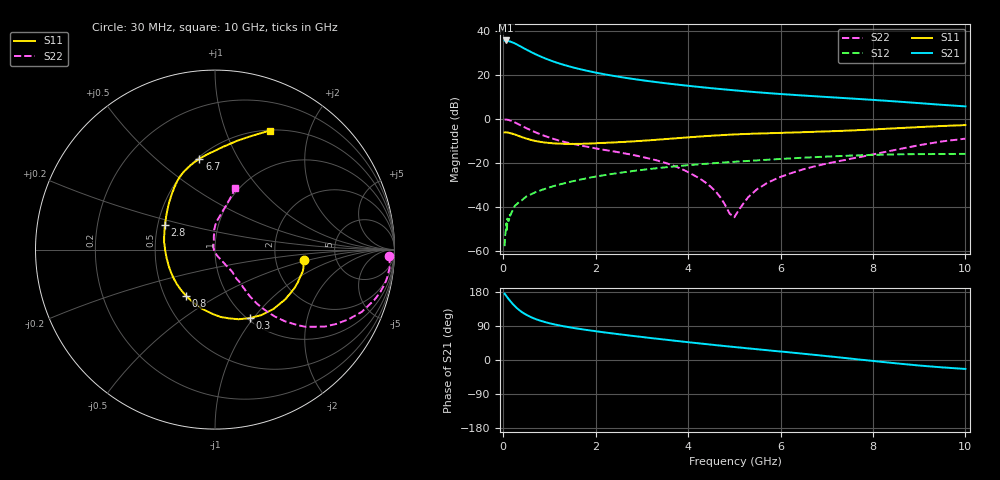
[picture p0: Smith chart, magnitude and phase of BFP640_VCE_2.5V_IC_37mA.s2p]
! Infineon Technologies  Discrete & RF Semiconductors
! BFP640
! VCE =  2.5 V,  IC =  37 mA
! Common Emitter S-Parameters:  Apr 2013
# GHz  S  MA  R  50
!  f  S11  S21  S12  S22
! GHz  MAG  ANG  MAG  ANG  MAG  ANG  MAG  ANG
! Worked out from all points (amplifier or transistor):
!   99 points, 30 MHz to 10 GHz, reference 50 ohm
!   highest |S21| = 35.7 dB at 60 MHz (marker M1)
!   |S21| within 3 dB of that: start of sweep to 401.3 MHz
!   unconditionally stable (mu >= 1): 1.983 GHz to end of sweep
!   at 350 MHz: K = 0.42, MSG = 35.4 dB, |S12| = -37.5 dB
!   at 3.5 GHz: K = 1.06, MAG = 17.7 dB, |S12| = -21.9 dB
!   at 10 GHz: K = 1.06, MAG = 9.3 dB, |S12| = -15.8 dB
!   S11 on the Smith chart (normalised r, x): 30 MHz: 2.90, -0.47; 300 MHz: 1.02, -0.96; 800 MHz: 0.64, -0.36; 2.8 GHz: 0.55, +0.17; 6.7 GHz: 0.51, +0.70; 10 GHz: 0.51, +1.44
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0.03  0.4983 -7.0  60.5 174.9  0.0013 97.2  0.9714 -2.1
0.06  0.5039 -14.0  61.06 170.0  0.0033 97.2  0.978 -6.2
0.08  0.4972 -18.6  60.69 166.7  0.0029 86.7  0.9726 -8.9
0.12  0.4871 -28.5  58.91 160.3  0.0049 82.2  0.952 -14.1
0.2  0.4645 -45.4  55.16 148.7  0.0083 74.4  0.8881 -23.0
0.25  0.4474 -54.6  52.4 142.3  0.0107 71.8  0.8401 -27.5
0.3  0.4277 -63.2  49.26 136.5  0.0119 70.8  0.7927 -31.5
0.4  0.3903 -78.7  43.3 126.8  0.0142 68.4  0.6994 -37.9
0.5  0.361 -91.3  37.94 119.3  0.0175 66.4  0.6226 -42.5
0.6  0.3365 -102.9  33.45 113.1  0.0195 64.9  0.556 -45.8
0.7  0.3173 -113.0  29.7 108.1  0.0219 64.2  0.4999 -48.2
0.8  0.3038 -122.3  26.6 103.8  0.0239 64.0  0.4532 -49.9
1.1  0.2807 -144.7  20.07 94.1  0.0303 62.5  0.3513 -52.7
1.4  0.2736 -161.2  16.02 87.1  0.0364 61.2  0.2902 -53.4
1.7  0.2747 -174.5  13.32 81.2  0.043 59.8  0.248 -52.9
2.2  0.2887 168.9  10.37 72.7  0.0535 56.5  0.1988 -53.5
2.8  0.3109 153.3  8.183 63.6  0.0661 51.8  0.1537 -52.4
3.4  0.3448 140.4  6.74 55.2  0.0782 46.8  0.1091 -54.8
5.1  0.4526 115.3  4.409 33.1  0.1089 31.7  0.0087 148.8
6.7  0.513 99.8  3.323 14.0  0.136 17.5  0.0825 93.9
8.5  0.6193 78.4  2.514 -8.8  0.1579 -0.8  0.2013 80.4
10  0.7306 65.2  1.944 -23.6  0.162 -12.8  0.3594 71.9
